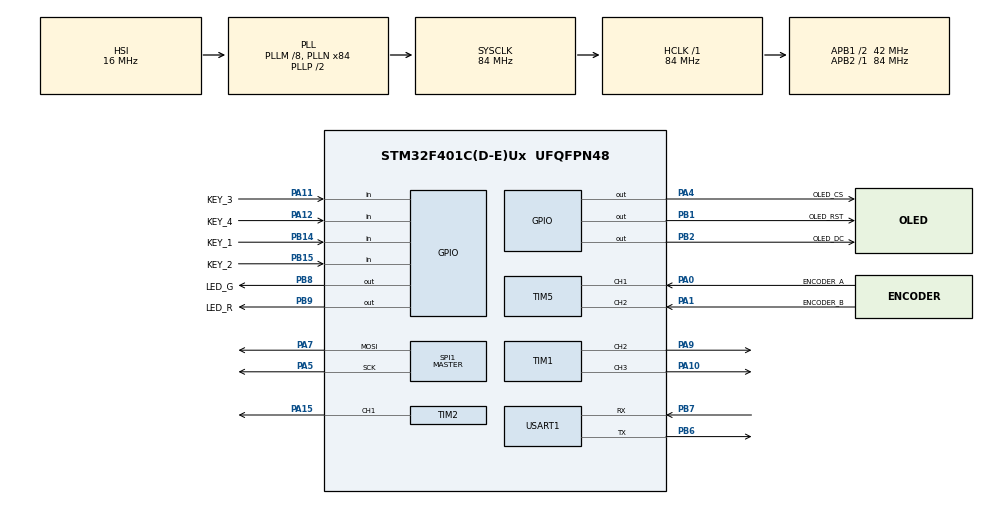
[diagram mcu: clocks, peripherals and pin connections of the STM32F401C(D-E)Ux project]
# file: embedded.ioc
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Mcu.Family=STM32F4
Mcu.Name=STM32F401C(D-E)Ux
Mcu.Package=UFQFPN48
NVIC.PriorityGroup=NVIC_PRIORITYGROUP_4
NVIC.TIM1_UP_TIM10_IRQn=true\:0\:0\:false\:false\:true\:true\:true\:true
PA0-WKUP.GPIO_Label=ENCODER_A
PA0-WKUP.Signal=S_TIM5_CH1
PA1.GPIO_Label=ENCODER_B
PA1.Signal=S_TIM5_CH2
PA10.Signal=S_TIM1_CH3
PA11.GPIO_Label=KEY_3
PA11.GPIO_PuPd=GPIO_PULLUP
PA11.Signal=GPIO_Input
PA12.GPIO_Label=KEY_4
PA12.GPIO_PuPd=GPIO_PULLUP
PA12.Signal=GPIO_Input
PA15.Signal=S_TIM2_CH1_ETR
PA4.GPIO_Label=OLED_CS
PA4.Signal=GPIO_Output
PA5.Mode=TX_Only_Simplex_Unidirect_Master
PA5.Signal=SPI1_SCK
PA7.Mode=TX_Only_Simplex_Unidirect_Master
PA7.Signal=SPI1_MOSI
PA9.Signal=S_TIM1_CH2
PB1.GPIO_Label=OLED_RST
PB1.Signal=GPIO_Output
PB14.GPIO_Label=KEY_1
PB14.GPIO_PuPd=GPIO_PULLUP
PB14.Signal=GPIO_Input
PB15.GPIO_Label=KEY_2
PB15.GPIO_PuPd=GPIO_PULLUP
PB15.Signal=GPIO_Input
PB2.GPIO_Label=OLED_DC
PB2.Signal=GPIO_Output
PB6.Mode=Asynchronous
PB6.Signal=USART1_TX
PB7.Mode=Asynchronous
PB7.Signal=USART1_RX
PB8.GPIO_Label=LED_G
PB8.Signal=GPIO_Output
PB9.GPIO_Label=LED_R
PB9.Signal=GPIO_Output
ProjectManager.HeapSize=0x200
ProjectManager.StackSize=0x400
ProjectManager.TargetToolchain=Makefile
RCC.48MHZClocksFreq_Value=42000000
RCC.AHBFreq_Value=84000000
RCC.APB1CLKDivider=RCC_HCLK_DIV2
RCC.APB1Freq_Value=42000000
RCC.APB1TimFreq_Value=84000000
RCC.APB2Freq_Value=84000000
RCC.APB2TimFreq_Value=84000000
RCC.CortexFreq_Value=84000000
RCC.HCLKFreq_Value=84000000
RCC.HSE_VALUE=25000000
RCC.HSI_VALUE=16000000
RCC.LSE_VALUE=32768
RCC.PLLM=8
RCC.PLLN=84
RCC.SYSCLKFreq_VALUE=84000000
RCC.SYSCLKSource=RCC_SYSCLKSOURCE_PLLCLK
RCC.VCOOutputFreq_Value=168000000
SH.S_TIM1_CH2.0=TIM1_CH2,PWM Generation2 CH2
SH.S_TIM1_CH3.0=TIM1_CH3,PWM Generation3 CH3
SH.S_TIM2_CH1_ETR.0=TIM2_CH1,PWM Generation1 CH1
SH.S_TIM5_CH1.0=TIM5_CH1,Encoder_Interface
SH.S_TIM5_CH2.0=TIM5_CH2,Encoder_Interface
SPI1.BaudRatePrescaler=SPI_BAUDRATEPRESCALER_4
SPI1.CLKPhase=SPI_PHASE_2EDGE
SPI1.CLKPolarity=SPI_POLARITY_HIGH
SPI1.Direction=SPI_DIRECTION_2LINES
SPI1.Mode=SPI_MODE_MASTER
SPI1.VirtualType=VM_MASTER
TIM1.Channel-PWM\ Generation2\ CH2=TIM_CHANNEL_2
TIM1.Channel-PWM\ Generation3\ CH3=TIM_CHANNEL_3
TIM1.Pulse-PWM\ Generation2\ CH2=0
TIM10.Period=9999
TIM10.Prescaler=83
TIM2.Channel-PWM\ Generation1\ CH1=TIM_CHANNEL_1
TIM2.OCFastMode_PWM-PWM\ Generation1\ CH1=TIM_OCFAST_DISABLE
TIM2.Period=4294967295
TIM2.Pulse-PWM\ Generation1\ CH1=0
TIM5.EncoderMode=TIM_ENCODERMODE_TI12
USART1.VirtualMode=VM_ASYNC
VP_TIM10_VS_ClockSourceINT.Mode=Enable_Timer
VP_TIM1_VS_ClockSourceINT.Mode=Internal
VP_TIM2_VS_ClockSourceINT.Mode=Internal
board=custom

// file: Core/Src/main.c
/* USER CODE BEGIN Header */
/**
 ******************************************************************************
 * @file           : main.c
 * @brief          : Main program body
 ******************************************************************************
 * @attention
 *
 * Copyright (c) 2023 STMicroelectronics.
 * All rights reserved.
 *
 * This software is licensed under terms that can be found in the LICENSE file
 * in the root directory of this software component.
 * If no LICENSE file comes with this software, it is provided AS-IS.
 *
 ******************************************************************************
 */
/* USER CODE END Header */
#include "main.h"

/* USER CODE BEGIN Includes */
#include "u8g2.h"
#include <stdio.h>
#include <stdlib.h>
#include <stdarg.h>
#include <math.h>
/* USER CODE END Includes */

/* USER CODE BEGIN PM */
#define ADC_ARRAY_NUM (1024)
#define Kp 5
#define Ki 0.05
#define Kd 2
// #define Kd 0
/* USER CODE END PM */

SPI_HandleTypeDef hspi1;

TIM_HandleTypeDef htim1;
TIM_HandleTypeDef htim2;
TIM_HandleTypeDef htim5;
TIM_HandleTypeDef htim10;

UART_HandleTypeDef huart1;

/* USER CODE BEGIN PV */
u8g2_t u8g2;
uint16_t adcvalue = 0;
uint16_t adcarray[ADC_ARRAY_NUM];
uint32_t motor_on = 0;
uint32_t motor_forward = 1;
uint32_t motor_pwm_freq = 84;
uint32_t beep_freq = 2700;
uint32_t beep_on = 0;
uint32_t key_1_tick = 0;
uint32_t key_2_tick = 0;
uint32_t key_3_tick = 0;
uint32_t key_4_tick = 0;

float speed = 0;
int target_speed = 180;
float motor_pwm_duty = 0;
float deviate = 0;
/* USER CODE END PV */

void SystemClock_Config(void);
static void MX_GPIO_Init(void);
static void MX_TIM1_Init(void);
static void MX_TIM2_Init(void);
static void MX_SPI1_Init(void);
static void MX_USART1_UART_Init(void);
static void MX_TIM5_Init(void);
static void MX_TIM10_Init(void);
/* USER CODE BEGIN PFP */
int UART_printf(UART_HandleTypeDef *huart, const char *fmt, ...);

int u8g2_printf(u8g2_t *u8g2, u8g2_uint_t x, u8g2_uint_t y, const char *fmt,
                ...);
uint8_t u8x8_stm32_gpio_and_delay(U8X8_UNUSED u8x8_t *u8x8,
                                  U8X8_UNUSED uint8_t msg,
                                  U8X8_UNUSED uint8_t arg_int,
                                  U8X8_UNUSED void *arg_ptr);
uint8_t u8x8_byte_4wire_hw_spi(u8x8_t *u8x8, uint8_t msg, uint8_t arg_int, void *arg_ptr);
/* USER CODE END PFP */

int main(void)
{

  /* MCU Configuration--------------------------------------------------------*/

  /* Reset of all peripherals, Initializes the Flash interface and the Systick. */
  HAL_Init();

  /* Configure the system clock */
  SystemClock_Config();

  /* Initialize all configured peripherals */
  MX_GPIO_Init();
  MX_TIM1_Init();
  MX_TIM2_Init();
  MX_SPI1_Init();
  MX_USART1_UART_Init();
  MX_TIM5_Init();
  MX_TIM10_Init();

  /* Infinite loop */
  /* USER CODE BEGIN WHILE */
  u8g2_Setup_ssd1306_128x64_noname_2(&u8g2, U8G2_R0, u8x8_byte_4wire_hw_spi, u8x8_stm32_gpio_and_delay); // init u8g2 structure
  u8g2_InitDisplay(&u8g2);                                                                               // send init sequence to the display, display is in sleep mode after this,
  u8g2_SetPowerSave(&u8g2, 0);                                                                           // wake up display

  HAL_TIM_Encoder_Start(&htim5, TIM_CHANNEL_1);
  HAL_TIM_Encoder_Start(&htim5, TIM_CHANNEL_2);

  UART_printf(&huart1, "These messages are sent by UART_printf!\r\n");
  UART_printf(&huart1, "Build on "__TIME__
                       " "__DATE__
                       " \r\n");

  HAL_TIM_Base_Start_IT(&htim10);

  HAL_TIM_PWM_Start(&htim2, TIM_CHANNEL_1);
  HAL_TIM_PWM_Start(&htim1, TIM_CHANNEL_2);
  HAL_TIM_PWM_Start(&htim1, TIM_CHANNEL_3);

  while (1)
  {
    if ((fabs(deviate) - 5) >= 0 && motor_on)
    {
      beep_on = 1;
      HAL_GPIO_WritePin(LED_R_GPIO_Port, LED_R_Pin, GPIO_PIN_SET);
      HAL_GPIO_WritePin(LED_G_GPIO_Port, LED_G_Pin, GPIO_PIN_RESET);
    }
    else if (motor_on)
    {
      beep_on = 0;
      HAL_GPIO_WritePin(LED_G_GPIO_Port, LED_G_Pin, GPIO_PIN_SET);
      HAL_GPIO_WritePin(LED_R_GPIO_Port, LED_R_Pin, GPIO_PIN_RESET);
    }
    else
    {
      beep_on = 0;
      HAL_GPIO_WritePin(LED_G_GPIO_Port, LED_G_Pin, GPIO_PIN_RESET);
      HAL_GPIO_WritePin(LED_R_GPIO_Port, LED_R_Pin, GPIO_PIN_RESET);
    }

    if (HAL_GPIO_ReadPin(KEY_1_GPIO_Port, KEY_1_Pin) == GPIO_PIN_RESET)
    {
      if ((HAL_GetTick() - key_1_tick) > 100)
      {
        motor_on = motor_on == 1 ? 0 : 1;
        motor_pwm_duty = motor_on == 1 ? motor_pwm_duty : 0;
      }
      // Record the last detection tick
      key_1_tick = HAL_GetTick();
    }

    if (HAL_GPIO_ReadPin(KEY_2_GPIO_Port, KEY_2_Pin) == GPIO_PIN_RESET)
    {
      if ((HAL_GetTick() - key_2_tick) > 100)
      {
        motor_forward = (motor_forward == 0) ? 1 : 0;
      }
      // Record the last detection tick
      key_2_tick = HAL_GetTick();
    }

    if (HAL_GPIO_ReadPin(KEY_3_GPIO_Port, KEY_3_Pin) == GPIO_PIN_RESET)
    {
      if ((HAL_GetTick() - key_3_tick) > 100)
      {
        // beep_on = (beep_on == 0) ? 1 : 0;
        if (target_speed > 20)
          target_speed -= 1;
        // Record the last detection tick
        key_3_tick = HAL_GetTick();
      }
    }

    if (HAL_GPIO_ReadPin(KEY_4_GPIO_Port, KEY_4_Pin) == GPIO_PIN_RESET)
    {
      if ((HAL_GetTick() - key_4_tick) > 100)
      {
        if (target_speed < 230)
          target_speed += 1;
        // Record the last detection tick
        key_4_tick = HAL_GetTick();
      }
    }

    if (motor_on == 1)
    {
      static float last_error = 0.0; // 上一次的误差
      static float integral = 0.0;   // 积分项
      float error, derivative, duty_cycle;
      error = target_speed - speed;
      if (motor_pwm_duty <= 100)
        integral += error;             // 计算积分项，同时使用积分遇限削弱法（clamping）实现抗积分饱和
      derivative = error - last_error; // 计算微分项
      last_error = error;
      duty_cycle = Kp * error + Ki * integral + Kd * derivative; // 计算输出值
      motor_pwm_duty = (duty_cycle / 10000);                     // 设置电机占空比
    }

    __HAL_TIM_SetAutoreload(&htim1, ((84000000ul / motor_pwm_freq) - 1)); /* 84MHz/motor_pwm_freq is the motor pwm sampling frequency */
    uint32_t compare1 = __HAL_TIM_GetAutoreload(&htim1);
    if (motor_forward)
    {
      __HAL_TIM_SetCompare(&htim1, TIM_CHANNEL_2, (uint32_t)(compare1 * (motor_pwm_duty / 100.0f)));
      __HAL_TIM_SetCompare(&htim1, TIM_CHANNEL_3, (uint32_t)compare1 * 0);
    }
    else
    {
      __HAL_TIM_SetCompare(&htim1, TIM_CHANNEL_3, (uint32_t)(compare1 * (motor_pwm_duty / 100.0f)));
      __HAL_TIM_SetCompare(&htim1, TIM_CHANNEL_2, (uint32_t)compare1 * 0);
    }

    __HAL_TIM_SetAutoreload(&htim2, ((84000000ul / beep_freq) - 1));
    uint32_t compare2 = __HAL_TIM_GetAutoreload(&htim2);
    if (beep_on)
      __HAL_TIM_SetCompare(&htim2, TIM_CHANNEL_1, (uint32_t)compare2 / 2);
    else
      __HAL_TIM_SetCompare(&htim2, TIM_CHANNEL_1, (uint32_t)compare2 * 0);
    /* USER CODE END WHILE */

  }
}

void SystemClock_Config(void)
{
  RCC_OscInitTypeDef RCC_OscInitStruct = {0};
  RCC_ClkInitTypeDef RCC_ClkInitStruct = {0};

  /** Configure the main internal regulator output voltage
   */
  __HAL_RCC_PWR_CLK_ENABLE();
  __HAL_PWR_VOLTAGESCALING_CONFIG(PWR_REGULATOR_VOLTAGE_SCALE2);

  /** Initializes the RCC Oscillators according to the specified parameters
   * in the RCC_OscInitTypeDef structure.
   */
  RCC_OscInitStruct.OscillatorType = RCC_OSCILLATORTYPE_HSI;
  RCC_OscInitStruct.HSIState = RCC_HSI_ON;
  RCC_OscInitStruct.HSICalibrationValue = RCC_HSICALIBRATION_DEFAULT;
  RCC_OscInitStruct.PLL.PLLState = RCC_PLL_ON;
  RCC_OscInitStruct.PLL.PLLSource = RCC_PLLSOURCE_HSI;
  RCC_OscInitStruct.PLL.PLLM = 8;
  RCC_OscInitStruct.PLL.PLLN = 84;
  RCC_OscInitStruct.PLL.PLLP = RCC_PLLP_DIV2;
  RCC_OscInitStruct.PLL.PLLQ = 4;
  if (HAL_RCC_OscConfig(&RCC_OscInitStruct) != HAL_OK)
  {
    Error_Handler();
  }

  /** Initializes the CPU, AHB and APB buses clocks
   */
  RCC_ClkInitStruct.ClockType = RCC_CLOCKTYPE_HCLK | RCC_CLOCKTYPE_SYSCLK | RCC_CLOCKTYPE_PCLK1 | RCC_CLOCKTYPE_PCLK2;
  RCC_ClkInitStruct.SYSCLKSource = RCC_SYSCLKSOURCE_PLLCLK;
  RCC_ClkInitStruct.AHBCLKDivider = RCC_SYSCLK_DIV1;
  RCC_ClkInitStruct.APB1CLKDivider = RCC_HCLK_DIV2;
  RCC_ClkInitStruct.APB2CLKDivider = RCC_HCLK_DIV1;

  if (HAL_RCC_ClockConfig(&RCC_ClkInitStruct, FLASH_LATENCY_2) != HAL_OK)
  {
    Error_Handler();
  }
}

static void MX_SPI1_Init(void)
{

  /* SPI1 parameter configuration*/
  hspi1.Instance = SPI1;
  hspi1.Init.Mode = SPI_MODE_MASTER;
  hspi1.Init.Direction = SPI_DIRECTION_2LINES;
  hspi1.Init.DataSize = SPI_DATASIZE_8BIT;
  hspi1.Init.CLKPolarity = SPI_POLARITY_HIGH;
  hspi1.Init.CLKPhase = SPI_PHASE_2EDGE;
  hspi1.Init.NSS = SPI_NSS_SOFT;
  hspi1.Init.BaudRatePrescaler = SPI_BAUDRATEPRESCALER_4;
  hspi1.Init.FirstBit = SPI_FIRSTBIT_MSB;
  hspi1.Init.TIMode = SPI_TIMODE_DISABLE;
  hspi1.Init.CRCCalculation = SPI_CRCCALCULATION_DISABLE;
  hspi1.Init.CRCPolynomial = 10;
  if (HAL_SPI_Init(&hspi1) != HAL_OK)
  {
    Error_Handler();
  }
}

static void MX_TIM1_Init(void)
{

  TIM_ClockConfigTypeDef sClockSourceConfig = {0};
  TIM_MasterConfigTypeDef sMasterConfig = {0};
  TIM_OC_InitTypeDef sConfigOC = {0};
  TIM_BreakDeadTimeConfigTypeDef sBreakDeadTimeConfig = {0};

  htim1.Instance = TIM1;
  htim1.Init.Prescaler = 0;
  htim1.Init.CounterMode = TIM_COUNTERMODE_UP;
  htim1.Init.Period = 65535;
  htim1.Init.ClockDivision = TIM_CLOCKDIVISION_DIV1;
  htim1.Init.RepetitionCounter = 0;
  htim1.Init.AutoReloadPreload = TIM_AUTORELOAD_PRELOAD_DISABLE;
  if (HAL_TIM_Base_Init(&htim1) != HAL_OK)
  {
    Error_Handler();
  }
  sClockSourceConfig.ClockSource = TIM_CLOCKSOURCE_INTERNAL;
  if (HAL_TIM_ConfigClockSource(&htim1, &sClockSourceConfig) != HAL_OK)
  {
    Error_Handler();
  }
  if (HAL_TIM_PWM_Init(&htim1) != HAL_OK)
  {
    Error_Handler();
  }
  sMasterConfig.MasterOutputTrigger = TIM_TRGO_RESET;
  sMasterConfig.MasterSlaveMode = TIM_MASTERSLAVEMODE_DISABLE;
  if (HAL_TIMEx_MasterConfigSynchronization(&htim1, &sMasterConfig) != HAL_OK)
  {
    Error_Handler();
  }
  sConfigOC.OCMode = TIM_OCMODE_PWM1;
  sConfigOC.Pulse = 0;
  sConfigOC.OCPolarity = TIM_OCPOLARITY_HIGH;
  sConfigOC.OCNPolarity = TIM_OCNPOLARITY_HIGH;
  sConfigOC.OCFastMode = TIM_OCFAST_DISABLE;
  sConfigOC.OCIdleState = TIM_OCIDLESTATE_RESET;
  sConfigOC.OCNIdleState = TIM_OCNIDLESTATE_RESET;
  if (HAL_TIM_PWM_ConfigChannel(&htim1, &sConfigOC, TIM_CHANNEL_2) != HAL_OK)
  {
    Error_Handler();
  }
  if (HAL_TIM_PWM_ConfigChannel(&htim1, &sConfigOC, TIM_CHANNEL_3) != HAL_OK)
  {
    Error_Handler();
  }
  sBreakDeadTimeConfig.OffStateRunMode = TIM_OSSR_DISABLE;
  sBreakDeadTimeConfig.OffStateIDLEMode = TIM_OSSI_DISABLE;
  sBreakDeadTimeConfig.LockLevel = TIM_LOCKLEVEL_OFF;
  sBreakDeadTimeConfig.DeadTime = 0;
  sBreakDeadTimeConfig.BreakState = TIM_BREAK_DISABLE;
  sBreakDeadTimeConfig.BreakPolarity = TIM_BREAKPOLARITY_HIGH;
  sBreakDeadTimeConfig.AutomaticOutput = TIM_AUTOMATICOUTPUT_DISABLE;
  if (HAL_TIMEx_ConfigBreakDeadTime(&htim1, &sBreakDeadTimeConfig) != HAL_OK)
  {
    Error_Handler();
  }
  HAL_TIM_MspPostInit(&htim1);
}

static void MX_TIM2_Init(void)
{

  TIM_ClockConfigTypeDef sClockSourceConfig = {0};
  TIM_MasterConfigTypeDef sMasterConfig = {0};
  TIM_OC_InitTypeDef sConfigOC = {0};

  htim2.Instance = TIM2;
  htim2.Init.Prescaler = 0;
  htim2.Init.CounterMode = TIM_COUNTERMODE_UP;
  htim2.Init.Period = 4294967295;
  htim2.Init.ClockDivision = TIM_CLOCKDIVISION_DIV1;
  htim2.Init.AutoReloadPreload = TIM_AUTORELOAD_PRELOAD_DISABLE;
  if (HAL_TIM_Base_Init(&htim2) != HAL_OK)
  {
    Error_Handler();
  }
  sClockSourceConfig.ClockSource = TIM_CLOCKSOURCE_INTERNAL;
  if (HAL_TIM_ConfigClockSource(&htim2, &sClockSourceConfig) != HAL_OK)
  {
    Error_Handler();
  }
  if (HAL_TIM_PWM_Init(&htim2) != HAL_OK)
  {
    Error_Handler();
  }
  sMasterConfig.MasterOutputTrigger = TIM_TRGO_RESET;
  sMasterConfig.MasterSlaveMode = TIM_MASTERSLAVEMODE_DISABLE;
  if (HAL_TIMEx_MasterConfigSynchronization(&htim2, &sMasterConfig) != HAL_OK)
  {
    Error_Handler();
  }
  sConfigOC.OCMode = TIM_OCMODE_PWM1;
  sConfigOC.Pulse = 0;
  sConfigOC.OCPolarity = TIM_OCPOLARITY_HIGH;
  sConfigOC.OCFastMode = TIM_OCFAST_DISABLE;
  if (HAL_TIM_PWM_ConfigChannel(&htim2, &sConfigOC, TIM_CHANNEL_1) != HAL_OK)
  {
    Error_Handler();
  }
  HAL_TIM_MspPostInit(&htim2);
}

static void MX_TIM5_Init(void)
{

  TIM_Encoder_InitTypeDef sConfig = {0};
  TIM_MasterConfigTypeDef sMasterConfig = {0};

  htim5.Instance = TIM5;
  htim5.Init.Prescaler = 0;
  htim5.Init.CounterMode = TIM_COUNTERMODE_UP;
  htim5.Init.Period = 4294967295;
  htim5.Init.ClockDivision = TIM_CLOCKDIVISION_DIV1;
  htim5.Init.AutoReloadPreload = TIM_AUTORELOAD_PRELOAD_DISABLE;
  sConfig.EncoderMode = TIM_ENCODERMODE_TI12;
  sConfig.IC1Polarity = TIM_ICPOLARITY_RISING;
  sConfig.IC1Selection = TIM_ICSELECTION_DIRECTTI;
  sConfig.IC1Prescaler = TIM_ICPSC_DIV1;
  sConfig.IC1Filter = 0;
  sConfig.IC2Polarity = TIM_ICPOLARITY_RISING;
  sConfig.IC2Selection = TIM_ICSELECTION_DIRECTTI;
  sConfig.IC2Prescaler = TIM_ICPSC_DIV1;
  sConfig.IC2Filter = 0;
  if (HAL_TIM_Encoder_Init(&htim5, &sConfig) != HAL_OK)
  {
    Error_Handler();
  }
  sMasterConfig.MasterOutputTrigger = TIM_TRGO_RESET;
  sMasterConfig.MasterSlaveMode = TIM_MASTERSLAVEMODE_DISABLE;
  if (HAL_TIMEx_MasterConfigSynchronization(&htim5, &sMasterConfig) != HAL_OK)
  {
    Error_Handler();
  }
}

static void MX_TIM10_Init(void)
{

  htim10.Instance = TIM10;
  htim10.Init.Prescaler = 83;
  htim10.Init.CounterMode = TIM_COUNTERMODE_UP;
  htim10.Init.Period = 9999;
  htim10.Init.ClockDivision = TIM_CLOCKDIVISION_DIV1;
  htim10.Init.AutoReloadPreload = TIM_AUTORELOAD_PRELOAD_DISABLE;
  if (HAL_TIM_Base_Init(&htim10) != HAL_OK)
  {
    Error_Handler();
  }
}

static void MX_USART1_UART_Init(void)
{

  huart1.Instance = USART1;
  huart1.Init.BaudRate = 115200;
  huart1.Init.WordLength = UART_WORDLENGTH_8B;
  huart1.Init.StopBits = UART_STOPBITS_1;
  huart1.Init.Parity = UART_PARITY_NONE;
  huart1.Init.Mode = UART_MODE_TX_RX;
  huart1.Init.HwFlowCtl = UART_HWCONTROL_NONE;
  huart1.Init.OverSampling = UART_OVERSAMPLING_16;
  if (HAL_UART_Init(&huart1) != HAL_OK)
  {
    Error_Handler();
  }
}

static void MX_GPIO_Init(void)
{
  GPIO_InitTypeDef GPIO_InitStruct = {0};

  /* GPIO Ports Clock Enable */
  __HAL_RCC_GPIOA_CLK_ENABLE();
  __HAL_RCC_GPIOB_CLK_ENABLE();

  /*Configure GPIO pin Output Level */
  HAL_GPIO_WritePin(OLED_CS_GPIO_Port, OLED_CS_Pin, GPIO_PIN_RESET);

  /*Configure GPIO pin Output Level */
  HAL_GPIO_WritePin(GPIOB, OLED_RST_Pin | OLED_DC_Pin | LED_G_Pin | LED_R_Pin, GPIO_PIN_RESET);

  /*Configure GPIO pin : OLED_CS_Pin */
  GPIO_InitStruct.Pin = OLED_CS_Pin;
  GPIO_InitStruct.Mode = GPIO_MODE_OUTPUT_PP;
  GPIO_InitStruct.Pull = GPIO_NOPULL;
  GPIO_InitStruct.Speed = GPIO_SPEED_FREQ_LOW;
  HAL_GPIO_Init(OLED_CS_GPIO_Port, &GPIO_InitStruct);

  /*Configure GPIO pins : OLED_RST_Pin OLED_DC_Pin LED_G_Pin LED_R_Pin */
  GPIO_InitStruct.Pin = OLED_RST_Pin | OLED_DC_Pin | LED_G_Pin | LED_R_Pin;
  GPIO_InitStruct.Mode = GPIO_MODE_OUTPUT_PP;
  GPIO_InitStruct.Pull = GPIO_NOPULL;
  GPIO_InitStruct.Speed = GPIO_SPEED_FREQ_LOW;
  HAL_GPIO_Init(GPIOB, &GPIO_InitStruct);

  /*Configure GPIO pins : KEY_1_Pin KEY_2_Pin */
  GPIO_InitStruct.Pin = KEY_1_Pin | KEY_2_Pin;
  GPIO_InitStruct.Mode = GPIO_MODE_INPUT;
  GPIO_InitStruct.Pull = GPIO_PULLUP;
  HAL_GPIO_Init(GPIOB, &GPIO_InitStruct);

  /*Configure GPIO pins : KEY_3_Pin KEY_4_Pin */
  GPIO_InitStruct.Pin = KEY_3_Pin | KEY_4_Pin;
  GPIO_InitStruct.Mode = GPIO_MODE_INPUT;
  GPIO_InitStruct.Pull = GPIO_PULLUP;
  HAL_GPIO_Init(GPIOA, &GPIO_InitStruct);

}

/* USER CODE BEGIN 4 */
uint8_t u8x8_stm32_gpio_and_delay(U8X8_UNUSED u8x8_t *u8x8, U8X8_UNUSED uint8_t msg, U8X8_UNUSED uint8_t arg_int, U8X8_UNUSED void *arg_ptr)
{
  switch (msg)
  {
  case U8X8_MSG_GPIO_AND_DELAY_INIT: // called once during init phase of u8g2/u8x8
    HAL_Delay(1);                    // init phase of u8x8/u8g2, add a delay of 1 ms
    break;                           // can be used to setup pins
  case U8X8_MSG_DELAY_MILLI:         // delay arg_int * 1 ms
    HAL_Delay(arg_int);
    break;
  case U8X8_MSG_GPIO_DC: // DC (data/cmd, A0, register select) pin: Output level in arg_int
    HAL_GPIO_WritePin(OLED_DC_GPIO_Port, OLED_DC_Pin, arg_int);
    break;
  case U8X8_MSG_GPIO_RESET: // Reset pin: Output level in arg_int
    HAL_GPIO_WritePin(OLED_RST_GPIO_Port, OLED_RST_Pin, arg_int);
    break;
  default:
    return 0; // a message was received which is not implemented, return 0 to indicate an error
  }
  return 1;
}

uint8_t u8x8_byte_4wire_hw_spi(u8x8_t *u8x8, uint8_t msg, uint8_t arg_int,
                               void *arg_ptr)
{
  switch (msg)
  {
  case U8X8_MSG_BYTE_SEND:
    HAL_SPI_Transmit(&hspi1, (uint8_t *)arg_ptr, arg_int, HAL_MAX_DELAY);
    break;
  case U8X8_MSG_BYTE_INIT:
    break;
  case U8X8_MSG_BYTE_SET_DC:
    HAL_GPIO_WritePin(OLED_DC_GPIO_Port, OLED_DC_Pin, arg_int);
    break;
  case U8X8_MSG_BYTE_START_TRANSFER:
    HAL_GPIO_WritePin(OLED_CS_GPIO_Port, OLED_CS_Pin, GPIO_PIN_RESET);
    break;
  case U8X8_MSG_BYTE_END_TRANSFER:
    HAL_GPIO_WritePin(OLED_CS_GPIO_Port, OLED_CS_Pin, GPIO_PIN_SET);
    break;
  default:
    return 0;
  }
  return 1;
}

int u8g2_printf(u8g2_t *u8g2, u8g2_uint_t x, u8g2_uint_t y, const char *fmt,
                ...)
{
  va_list ap;
  va_start(ap, fmt);
  int length;
  char buffer[128];
  length = vsnprintf(buffer, 128, fmt, ap);
  u8g2_DrawStr(u8g2, x, y, buffer);
  va_end(ap);
  return length;
}

int UART_printf(UART_HandleTypeDef *huart, const char *fmt, ...)
{
  va_list ap;
  va_start(ap, fmt);

  int length;
  char buffer[128];

  length = vsnprintf(buffer, 128, fmt, ap);

  HAL_UART_Transmit(huart, (uint8_t *)buffer, length, HAL_MAX_DELAY);

  va_end(ap);
  return length;
}

void HAL_TIM_PeriodElapsedCallback(TIM_HandleTypeDef *htim)
{
  if (htim->Instance == TIM10)
  {
    static uint16_t time_count = 0;
    time_count++;
    if (time_count == 10) // 中断周期为10ms，每10*10ms触发一次下面的函数
    {
      static int32_t lastcount = 0;
      int32_t count = abs(__HAL_TIM_GetCounter(&htim5));
      speed = (float)(((abs(count - lastcount) / 4.0f) / 11.0f) * 10.0f * 60.0f) / 21.3f; // |上次计数值-此次计数值|=编码器在10*10ms=100ms内的计数 / 一次脉冲下AB两相上升沿+下降沿的计数和=4 / 每圈产生的脉冲信号=10 * 10*100ms=1s / 减速比=21.3
      int speed_int = (int)speed;
      int speed_float = (int)(fabs(speed - speed_int) * 10);

      deviate = (speed - (float)target_speed) / (float)target_speed * 100.0f;
      int deviate_int = (int)deviate;
      int deviate_float = (int)(fabs(deviate - deviate_int) * 10);
      UART_printf(&huart1, "%d,%d.%d,%d.%d,%d.%d\n", target_speed, speed_int, speed_float, (int)motor_pwm_duty, (int)((motor_pwm_duty - (int)motor_pwm_duty) * 100), deviate_int, deviate_float);

      u8g2_FirstPage(&u8g2);
      do
      {
        u8g2_SetFont(&u8g2, u8g2_font_samim_14_t_all);

        u8g2_printf(&u8g2, 0, 16, "Target: %d rpm", target_speed);

        char verse_str = motor_forward == 1 ? 'F' : 'R';

        u8g2_printf(&u8g2, 112, 16, "%c", verse_str);
        u8g2_printf(&u8g2, 0, 32, "Speed: %d.%d rpm", speed_int, speed_float);

        u8g2_printf(&u8g2, 0, 48, "Duty: %d.%d%%", (int)motor_pwm_duty, (int)((motor_pwm_duty - (int)motor_pwm_duty) * 100));
        u8g2_printf(&u8g2, 0, 64, "Deviation: %d.%d%%", deviate_int, deviate_float);
      } while (u8g2_NextPage(&u8g2));

      lastcount = count;
      time_count = 0;
    }
  }
}
/* USER CODE END 4 */

void Error_Handler(void)
{
  __disable_irq();
  while (1)
  {
  }
}
